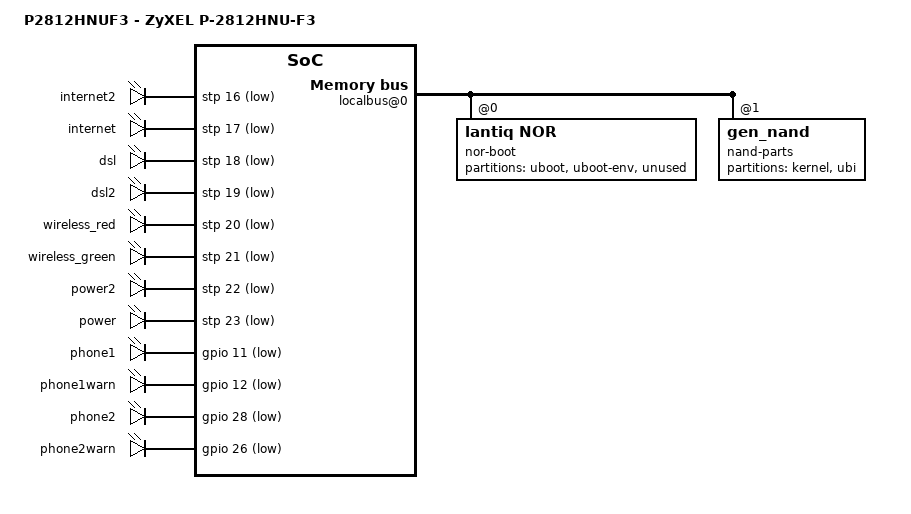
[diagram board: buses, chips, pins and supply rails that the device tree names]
/dts-v1/;

/include/ "P2812HNUFX.dtsi"

/ {
	model = "P2812HNUF3 - ZyXEL P-2812HNU-F3";

	fpi@10000000 {
		localbus@0 {
			nor-boot@0 {
				compatible = "lantiq,nor";
				bank-width = <2>;
				reg = <0 0x0 0x800000>;
				#address-cells = <1>;
				#size-cells = <1>;

				partition@0 {
					label = "uboot";
					reg = <0x0 0x50000>;
					read-only;
				};
				partition@50000 {
					label = "uboot-env";
					reg = <0x50000 0x10000>;
				};
				partition@60000 {
					label = "unused";
					reg = <0x60000 0x7a0000>;
				};
			};

			nand-parts@0 {
				compatible = "gen_nand", "lantiq,nand-xway";
				lantiq,cs = <1>;
				bank-width = <2>;
				reg = <1 0x0 0x2000000>;
				#address-cells = <1>;
				#size-cells = <1>;

				partition@0 {
					label = "kernel";
					reg = <0x0 0x200000>;
				};
				partition@200000 {
					label = "ubi";
					reg = <0x200000 0x7e00000>;
				};
			};
		};
	};

	ralink_eep {
		compatible = "ralink,eeprom";
		ralink,eeprom = "RT3092.eeprom";
	};

	gpio-leds {
		compatible = "gpio-leds";

		internet2 {
			label = "internet2";
			gpios = <&stp 16 1>;
		};
		internet {
			label = "internet";
			gpios = <&stp 17 1>;
		};
		dsl {
			label = "dsl";
			gpios = <&stp 18 1>;
		};
		dsl2 {
			label = "dsl2";
			gpios = <&stp 19 1>;
		};
		wireless_red {
			label = "wireless_red";
			gpios = <&stp 20 1>;
		};
		wireless_green {
			label = "wireless_green";
			gpios = <&stp 21 1>;
		};
		power2 {
			label = "power2";
			gpios = <&stp 22 1>;
		};
		power {
			label = "power";
			gpios = <&stp 23 1>;
		};
		phone1 {
			label = "phone1";
			gpios = <&gpio 11 1>;
		};
		phone1warn {
			label = "phone1warn";
			gpios = <&gpio 12 1>;
		};
		phone2 {
			label = "phone2";
			gpios = <&gpio 28 1>;
		};
		phone2warn {
			label = "phone2warn";
			gpios = <&gpio 26 1>;
		};
	};
};
